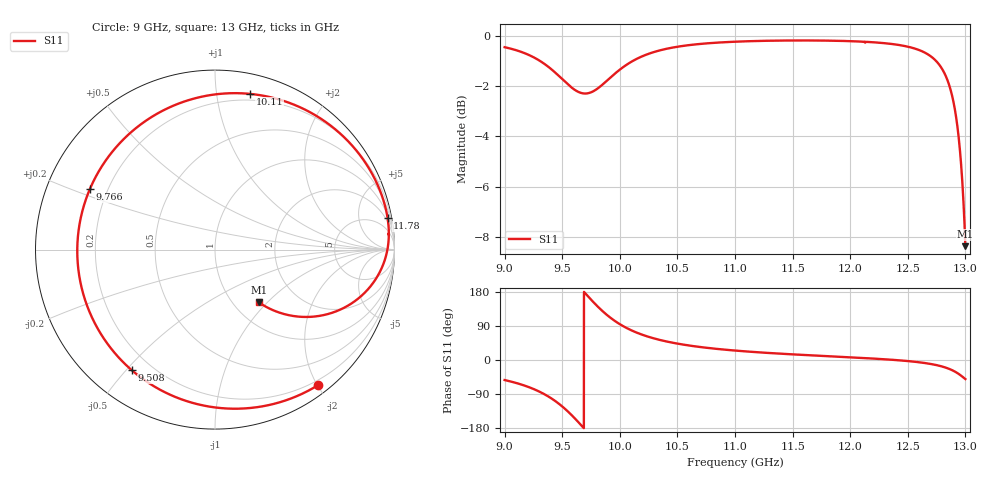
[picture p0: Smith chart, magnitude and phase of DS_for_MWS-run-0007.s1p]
! TOUCHSTONE file generated by CST DESIGN STUDIO
! Date and time: Tue Feb  4 17:26:12 2025
! Project name: C:\Work\MatlabApps\UnitCellOptimizationMatlab\CST\unitcell.cst
! Tree item: Tasks\Sweep1\SPara1\S-Parameters
! Header version: 2024
! Port assignment regex: !\s*Touchstone port\s*([0-9]+)\s*=\s*(CST MWS port|CST DES external port|CST DES block port)\s*(.+)\s* \(\"(.*)\"\)(\s*mode\s*([0-9]+))?.*
! Touchstone port assignment:
! Touchstone port 1 = CST DES external port 1 ("")
# GHz S MA R 50
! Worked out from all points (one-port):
!   4001 points, 9 GHz to 13 GHz, reference 50 ohm
!   lowest |S11| = -8.4 dB at 13 GHz (marker M1), VSWR 2.23, Z = 64.9 - j44.6 ohm
!   |S11| at or under -10 dB: nowhere
!   S11 on the Smith chart (normalised r, x): 9 GHz: 0.13, -2.00; 9.508 GHz: 0.13, -0.52; 9.766 GHz: 0.13, +0.22; 10.11 GHz: 0.15, +1.24; 11.78 GHz: 1, +11; 13 GHz: 1.30, -0.89
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9  0.9485 -52.9
9.166  0.9244 -66.8
9.318  0.8874 -85.9
9.415  0.854 -103.1
9.5  0.8197 -122.5
9.508  0.8165 -124.6
9.573  0.7915 -142.8
9.646  0.7719 -165.9
9.705  0.7673 174.4
9.766  0.7744 154.2
9.824  0.7903 136.4
9.88  0.8105 121.0
9.938  0.833 107.1
10  0.8559 94.5
10.107  0.8891 77.4
10.284  0.9258 58.0
10.5  0.9504 43.2
10.719  0.9637 33.5
11  0.9726 24.9
11.5  0.9781 14.9
11.779  0.9776 10.5
12  0.975 7.1
12.5  0.9507 -2.8
12.697  0.9106 -10.4
12.823  0.8376 -19.5
12.879  0.7688 -26.0
12.928  0.667 -34.0
13  0.3815 -50.3
